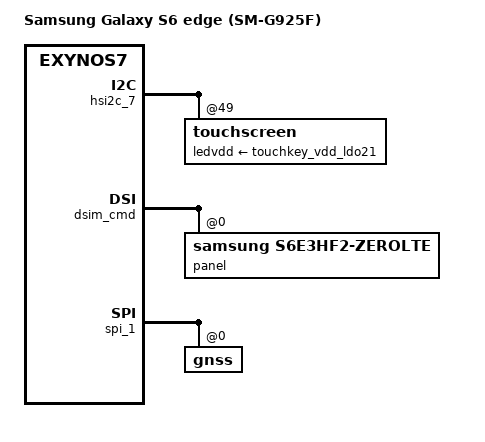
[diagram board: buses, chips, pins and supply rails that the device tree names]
// SPDX-License-Identifier: GPL-2.0
/*
 * Samsung Galaxy S6 edge (SM-G925F, zerolte) device tree
 *
 * Exynos 7420, EUR single SIM. The board is the S6 board with an edge
 * panel; this file takes the S6 description and changes only what the
 * stock 3.10 exynos7420-zerolte_eur_open_08.dts and its battery, sensor
 * and LED includes set differently.
 *
 * Built only; not yet booted on a G925F. ASV voltages are per chip and the
 * board revision of a given unit is unknown.
 */

#include "exynos7420-zeroflte.dts"

/ {
	model = "Samsung Galaxy S6 edge (SM-G925F)";
	compatible = "samsung,zerolte", "samsung,exynos7420",
		     "samsung,exynos7";

	/* S-Boot DTBH match: EUR rev06 boards and later */
	model_info-hw_rev = <10>;
	model_info-hw_rev_end = <255>;

	aliases {
		/delete-property/ i2c0;
	};
};

/*
 * No Cypress touchkey: the two capacitive keys are read by the STM
 * touchscreen, and LDO21 powers their LEDs (stock regulator "key_led").
 */
/delete-node/ &i2c_touchkey;

&touchkey_vdd_ldo21 {
	regulator-name = "key_led";
};

&hsi2c_7 {
	touchscreen@49 {
		touch-key-connected;
		ledvdd-supply = <&touchkey_vdd_ldo21>;
	};
};

/* S6E3HF2 edge panel, 1440x2560 like the S6 (stock lcd_info s6e3hf2_wqhd) */
&dsim_cmd {
	panel@0 {
		compatible = "samsung,s6e3hf2-zerolte", "samsung,s6e3hf2";
	};
};

/* Stock zerolte battery: fast charge 2.05 A, swelling-range 1.15 A */
&battery {
	constant-charge-current-max-microamp = <2050000>;
};

&max77843 {
	charger {
		maxim,alert-charge-current-microamp = <1150000>;
	};

	/* LRA period of the 3.10 G925F */
	haptic {
		pwms = <&pwm 1 33670 0>;
	};

	/* Edge RGB LED: stock brt-code-max 10/4/4 */
	led-controller {
		multi-led {
			led@1 {
				maxim,brt-code-max = <10>;
			};

			led@2 {
				maxim,brt-code-max = <4>;
			};

			led@3 {
				maxim,brt-code-max = <4>;
			};
		};
	};
};

/* YAS537 placement and static matrix of the G925F */
&spi_1 {
	gnss@0 {
		sensorhub {
			samsung,mag-position = <6>;
			samsung,glass-type = <1>;
			samsung,mag-matrix = <9930 866 (-228) 263 9197
					      121 (-135) 387 10378>;
		};
	};
};
